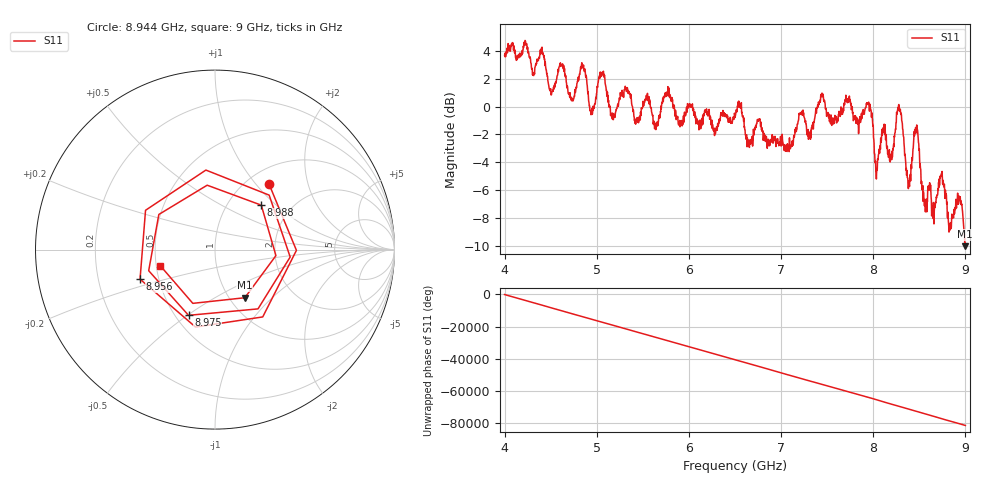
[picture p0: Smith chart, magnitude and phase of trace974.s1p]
! Created with skrf 1.8.0 (http://scikit-rf.org).
# Hz S RI R 50.0
!freq ReS11 ImS11
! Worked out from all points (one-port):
!   1601 points, 4 GHz to 9 GHz, reference 50 ohm
!   lowest |S11| = -10.0 dB at 8.994 GHz (marker M1), VSWR 1.92, Z = 58.7 - j35 ohm
!   |S11| at or under -10 dB: 8.993914 GHz to 8.994254 GHz (340 kHz wide, 0.00378 % of centre)
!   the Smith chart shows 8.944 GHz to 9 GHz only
!   S11 on the Smith chart (normalised r, x): 8.944 GHz: 1.24, +1.18; 8.956 GHz: 0.39, -0.16; 8.975 GHz: 0.58, -0.50; 8.988 GHz: 1.43, +0.81; 9 GHz: 0.53, -0.10
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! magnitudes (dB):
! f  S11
! 4 GHz  3.7
! 4.409 GHz  3.8
! 4.509 GHz  0.9
! 4.625 GHz  3.0
! 4.731 GHz  0.4
! 4.85 GHz  2.8
! 4.944 GHz  -0.3
! 5.053 GHz  2.4
! 5.172 GHz  -0.5
! 5.25 GHz  0.5
! 5.875 GHz  -0.8
! 6.5 GHz  -0.8
! 7.125 GHz  -2.5
! 7.75 GHz  0.3
! 7.953 GHz  0.2
! 8.038 GHz  -4.5
! 8.116 GHz  -1.5
! 8.2 GHz  -3.8
! 8.281 GHz  0.0
! 8.375 GHz  -5.2
! 8.466 GHz  -1.6
! 8.562 GHz  -6.7
! 8.944 GHz  -6.5
! 8.956 GHz  -7.0
! 8.975 GHz  -8.1
! 8.988 GHz  -8.9
! 8.994 GHz  -10.0
! 9 GHz  -10.0
